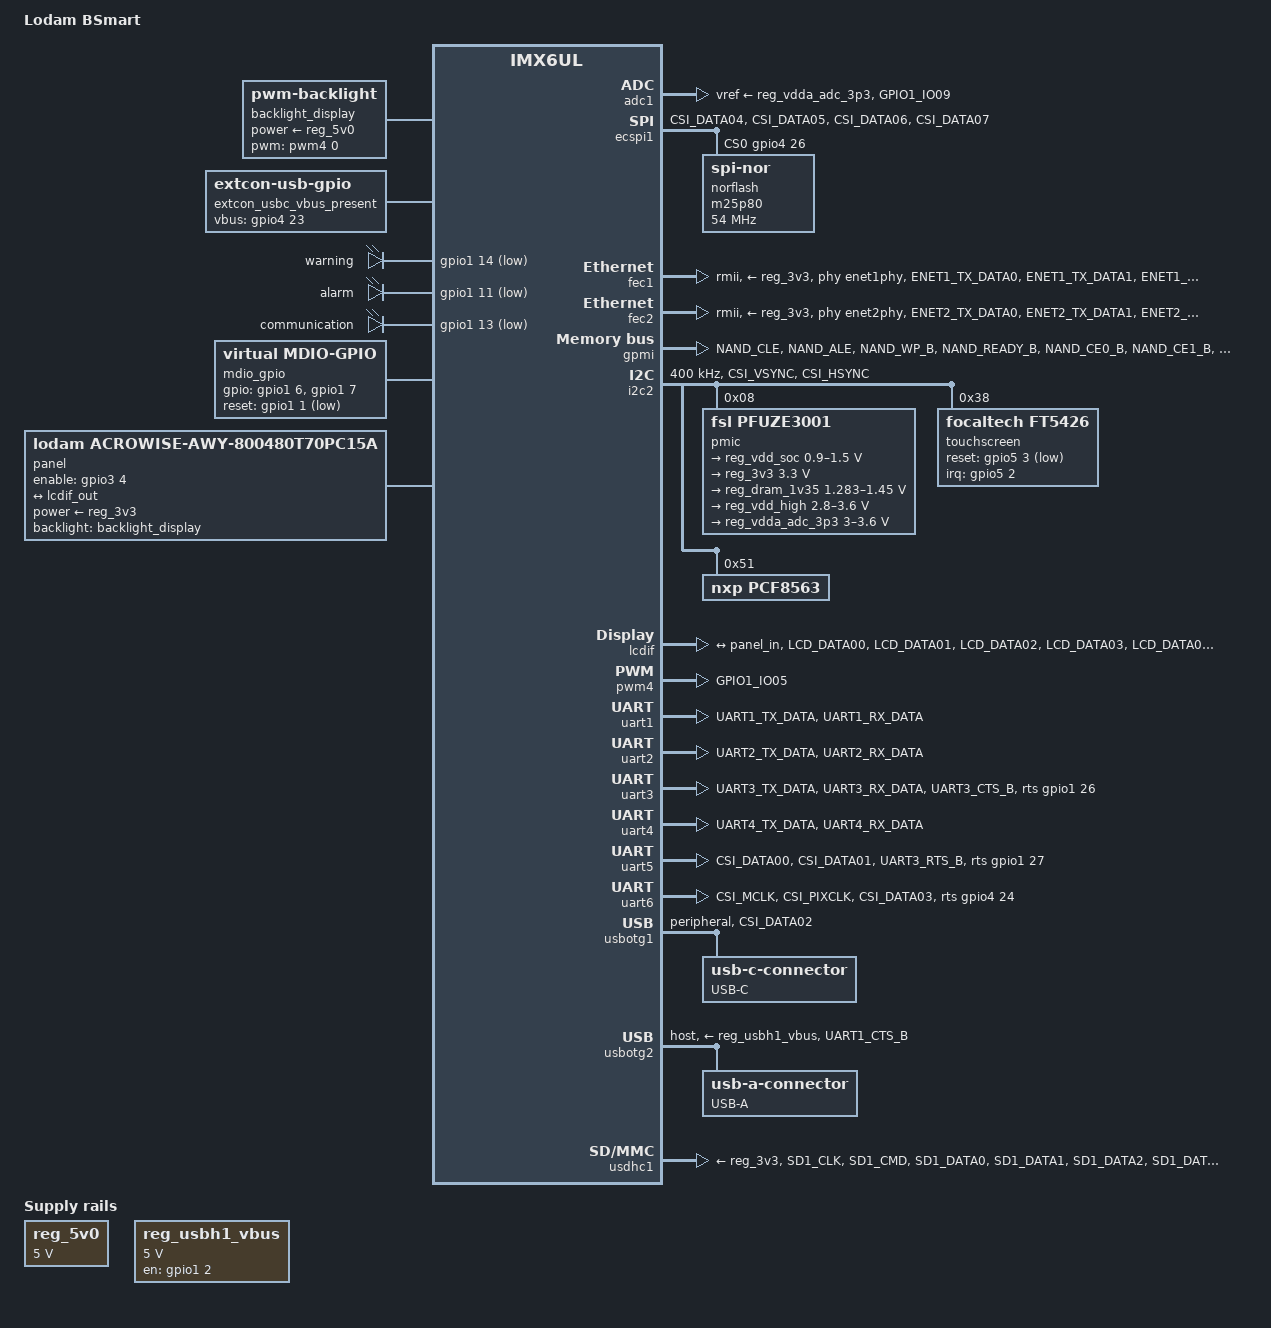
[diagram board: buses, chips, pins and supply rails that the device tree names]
/*
 * The code contained herein is licensed under the GNU General Public
 * License. You may obtain a copy of the GNU General Public License
 * Version 2 or later at the following locations:
 *
 * http://www.opensource.org/licenses/gpl-license.html
 * http://www.gnu.org/copyleft/gpl.html
 */

/dts-v1/;

#include "imx6ul.dtsi"

/ {
	model = "Lodam BSmart";
	compatible = "lodam,imx6ul-bsmart", "fsl,imx6ul";

	aliases {
		mdio-gpio0 = &mdio_gpio;
		rtc0 = &pcf8563;
		rtc1 = &snvs_rtc;
	};

	backlight_display: backlight-display {
		compatible = "pwm-backlight";
		pwms = <&pwm4 0 10000000>;
		brightness-levels = <0 16 32 48 64 80 96 112 128 144 160 176 192 208 224 240 255>;
		default-brightness-level = <16>;
		power-supply = <&reg_5v0>;
		status = "okay";
	};

	chosen {
		stdout-path = &uart1;
	};

	extcon_usbc_vbus_present: extcon_usbc {
		compatible = "linux,extcon-usb-gpio";
		vbus-gpio = <&gpio4 23 GPIO_ACTIVE_HIGH>;
	};

	leds: leds {
		compatible = "gpio-leds";
		pinctrl-names = "default";
		pinctrl-0 = <&pinctrl_leds>;

		led1: led1 {
			label = "warning";
			gpios = <&gpio1 14 GPIO_ACTIVE_LOW>;
			default-state = "on";
		};

		led2: led2 {
			label = "alarm";
			gpios = <&gpio1 11 GPIO_ACTIVE_LOW>;
			default-state = "on";
		};

		led3: led3 {
			label = "communication";
			gpios = <&gpio1 13 GPIO_ACTIVE_LOW>;
			default-state = "on";
		};
	};

	mdio_gpio: mdio-gpio { /* because MDC/MDIO lines are swapped */
		compatible = "virtual,mdio-gpio";
		pinctrl-names = "default";
		pinctrl-0 = <&pinctrl_mdio_gpio>;
		#address-cells = <1>;
		#size-cells = <0>;
		gpios = <&gpio1 6 GPIO_ACTIVE_HIGH   /* MDC */
			 &gpio1 7 GPIO_ACTIVE_HIGH>; /* MDIO */

		reset-gpios = <&gpio1 1 GPIO_ACTIVE_LOW>;
		reset-delay-us = <100000>;

		enet2phy: ksz8081rnb@1 {
			pinctrl-names = "default";
			pinctrl-0 = <&pinctrl_enet2phy>;
			interrupt-parent = <&gpio5>;
			interrupts = <6 IRQ_TYPE_LEVEL_LOW>;
			clocks = <&clks IMX6UL_CLK_ENET_REF>;
			clock-names = "rmii-ref";
			micrel,led-mode = <1>;
			reg = <1>;
		};

		enet1phy: ksz8081rnb@2 {
			pinctrl-names = "default";
			pinctrl-0 = <&pinctrl_enet1phy>;
			interrupt-parent = <&gpio5>;
			interrupts = <5 IRQ_TYPE_LEVEL_LOW>;
			clocks = <&clks IMX6UL_CLK_ENET_REF>;
			clock-names = "rmii-ref";
			micrel,led-mode = <1>;
			reg = <2>;
		};
	};

	panel {
		compatible = "lodam,acrowise-awy-800480t70pc15a", "simple-panel";
		backlight = <&backlight_display>;
		power-supply = <&reg_3v3>;
		enable-gpios = <&gpio3 4 GPIO_ACTIVE_HIGH>;

		port {
			panel_in: endpoint {
				remote-endpoint = <&lcdif_out>;
			};
		};
	};

	reg_5v0: 5v0 {
		compatible = "regulator-fixed";
		regulator-name = "5v0";
		regulator-min-microvolt = <5000000>;
		regulator-max-microvolt = <5000000>;
		regulator-always-on;
	};

	reg_usbh1_vbus: usb-h1-vbus {
		compatible = "regulator-fixed";
		regulator-name = "usb_h1_vbus";
		pinctrl-names = "default";
		pinctrl-0 = <&pinctrl_usbotg2_reg>;
		gpio = <&gpio1 2 GPIO_ACTIVE_HIGH>;
		enable-active-high;
		in-supply = <&reg_5v0>;
		regulator-min-microvolt = <5000000>;
		regulator-max-microvolt = <5000000>;
	};
};

&adc1 {
	pinctrl-names = "default";
	pinctrl-0 = <&pinctrl_adc1>;
	vref-supply = <&reg_vdda_adc_3p3>;
	num-channels = <10>;
	status = "okay";
};

&cpu0 {
        /* There's no means to reset the PMIC if imx2-wdt is triggered,
	 * thus disable cpufreq scaling to avoid erratic behavior
	 */
	operating-points = <
		/* kHz	uV */
		528000	1175000
	>;
	fsl,soc-operating-points = <
		/* KHz	uV */
		528000	1175000
	>;
};

&ecspi1 {
	fsl,spi-num-chipselects = <1>;
	cs-gpios = <&gpio4 26 0>;
	pinctrl-names = "default";
	pinctrl-0 = <&pinctrl_ecspi1>;
	status = "okay";

	norflash: m25p80@0 {
		#address-cells = <1>;
		#size-cells = <1>;
		compatible = "jedec,spi-nor";
		spi-max-frequency = <54000000>;
		reg = <0>;
	};
};

&fec1 {
	pinctrl-names = "default";
	pinctrl-0 = <&pinctrl_enet1>;
	phy-mode = "rmii";
	phy-handle = <&enet1phy>;
	phy-supply = <&reg_3v3>;
	status = "okay";
};

&fec2 {
	pinctrl-names = "default";
	pinctrl-0 = <&pinctrl_enet2>;
	phy-mode = "rmii";
	phy-handle = <&enet2phy>;
	phy-supply = <&reg_3v3>;
	status = "okay";
};

&gpio1 {
	gpio-line-names = "/Bluetooth_Reset", "", "", "", "", "", "", "",
			  "", "", "", "", "", "", "", "",
			  "", "", "/USB_HUB_RESET", "", "", "", "USB_MODEM_PWREN", "GNSS_ENABLE",
			  "", "", "", "", "", "", "/ONOFF_DETECT", "/MODEM_RESET";
};

&gpio5 {
	gpio-line-names = "PMIC_INT_B", "", "", "", "", "", "", "",
			  "", "", "", "", "", "", "", "",
			  "", "", "", "", "", "", "", "",
			  "", "", "", "", "", "", "", "";
};

&gpmi {
	#address-cells = <1>;
	#size-cells = <1>;
	pinctrl-names = "default";
	pinctrl-0 = <&pinctrl_gpmi_nand>;
	nand-on-flash-bbt;
	status = "okay";
};

&i2c2 {
	clock-frequency = <400000>;
	pinctrl-names = "default";
	pinctrl-0 = <&pinctrl_i2c2>;
	status = "okay";

	pmic@8 {
		compatible = "fsl,pfuze3001";
		reg = <0x08>;

		regulators {
			reg_vdd_soc: sw1 {
				regulator-min-microvolt = <900000>;
				regulator-max-microvolt = <1500000>;
				regulator-boot-on;

				regulator-state-mem {
					regulator-on-in-suspend;
				};
			};

			reg_3v3: sw2 {
				regulator-min-microvolt = <3300000>;
				regulator-max-microvolt = <3300000>;

				regulator-state-mem {
					regulator-off-in-suspend;
				};
			};

			reg_dram_1v35: sw3 {
				regulator-min-microvolt = <1283000>;
				regulator-max-microvolt = <1450000>;
				regulator-boot-on;
				regulator-always-on;

				regulator-state-mem {
					regulator-on-in-suspend;
				};
			};

			reg_vdd_high: v33 {
				regulator-min-microvolt = <2800000>;
				regulator-max-microvolt = <3600000>;
				regulator-boot-on;
				regulator-always-on;
			};

			reg_vdda_adc_3p3: vldo1 {
				regulator-min-microvolt = <3000000>;
				regulator-max-microvolt = <3600000>;
				regulator-boot-on;

				regulator-state-mem {
					regulator-off-in-suspend;
				};
			};
		};
	};

	usb-hub@2c {
		compatible = "microchip,usb2512bi";
		reg = <0x2c>;
		reset-gpios = <&gpio1 18 GPIO_ACTIVE_LOW>;
		vdd33-supply = <&reg_3v3>;
		status = "disabled"; /* solder R114, R115 to enable */
	};

	touchscreen@38 {
		compatible = "focaltech,ft5426", "edt,edt-ft5406";
		reg = <0x38>;
		pinctrl-names = "default";
		pinctrl-0 = <&pinctrl_lcd_ctp_ctrl>;
		reset-gpios = <&gpio5 3 GPIO_ACTIVE_LOW>;
		interrupt-parent = <&gpio5>;
		interrupts = <2 IRQ_TYPE_EDGE_FALLING>;
		touchscreen-size-x = <800>;
		touchscreen-size-y = <480>;
	};

	pcf8563: rtc@51 {
		compatible = "nxp,pcf8563";
		reg = <0x51>;
	};
};

&iomuxc {
	pinctrl-names = "default";
	pinctrl-0 = <&pinctrl_hog &pinctrl_bluetooth &pinctrl_modem>;

	pinctrl_hog: hoggrp {
		/* adjust settings of some pads to save battery power */
		fsl,pins = <
			/* Input signal is always defined externally => no PU/PD */
			MX6UL_PAD_BOOT_MODE0__GPIO5_IO10	0x0
			MX6UL_PAD_BOOT_MODE1__GPIO5_IO11	0x0

			MX6UL_PAD_SNVS_TAMPER1__GPIO5_IO01	0x110a0
			MX6UL_PAD_SNVS_TAMPER4__GPIO5_IO04	0x110a0
			MX6UL_PAD_SNVS_TAMPER7__GPIO5_IO07	0x110a0
			MX6UL_PAD_SNVS_TAMPER8__GPIO5_IO08	0x110a0
			MX6UL_PAD_SNVS_TAMPER9__GPIO5_IO09	0x110a0
			MX6UL_PAD_UART5_TX_DATA__GPIO1_IO30	0x1b0b0 /* !ONOFF_Detect */
			MX6UL_PAD_JTAG_MOD__SJC_MOD		0xb0a0
			MX6UL_PAD_JTAG_TRST_B__SJC_TRSTB	0x70a0
			MX6UL_PAD_JTAG_TDO__SJC_TDO		0xb0b1
			MX6UL_PAD_SNVS_TAMPER0__GPIO5_IO00	0x100a0	/* PMIC_INT_B */
		>;
	};

	pinctrl_adc1: adc1grp {
		fsl,pins = <
			MX6UL_PAD_GPIO1_IO09__GPIO1_IO09	0x30	/* VIN_MEAS */
		>;
	};

	pinctrl_bluetooth: bluetoothgrp {
		fsl,pins = <
			MX6UL_PAD_GPIO1_IO00__GPIO1_IO00	0xb0	/* !Bluetooth_Reset, has 19k PU */
		>;
	};

	pinctrl_ecspi1: ecspi1grp {
		fsl,pins = <
			MX6UL_PAD_CSI_DATA04__ECSPI1_SCLK	0xb0	/* eCSPI1.SCLK */
			MX6UL_PAD_CSI_DATA05__GPIO4_IO26	0xb1	/* eCSPI1.SS0 */
			MX6UL_PAD_CSI_DATA06__ECSPI1_MOSI	0xb0	/* eCSPI1.MOSI */
			MX6UL_PAD_CSI_DATA07__ECSPI1_MISO	0xb0	/* eCSPI1.MISO */
		>;
	};

	pinctrl_enet1: enet1grp {
		fsl,pins = <
			MX6UL_PAD_ENET1_TX_DATA0__ENET1_TDATA00	0x1b0b0
			MX6UL_PAD_ENET1_TX_DATA1__ENET1_TDATA01	0x1b0b0
			MX6UL_PAD_ENET1_TX_EN__ENET1_TX_EN	0x1b0b0
			MX6UL_PAD_ENET1_TX_CLK__ENET1_REF_CLK1  0x4001b031
			MX6UL_PAD_ENET1_RX_DATA0__ENET1_RDATA00	0x1b0b0
			MX6UL_PAD_ENET1_RX_DATA1__ENET1_RDATA01	0x1b0b0
			MX6UL_PAD_ENET1_RX_ER__ENET1_RX_ER	0x1b0b0
			MX6UL_PAD_ENET1_RX_EN__ENET1_RX_EN	0x1b0b0
		>;
	};

	pinctrl_enet1phy: enet1phygrp {
		fsl,pins = <
			MX6UL_PAD_SNVS_TAMPER5__GPIO5_IO05	0x1b0a0 /* !ENET1_INT */
		>;
	};

	pinctrl_enet2: enet2grp {
		fsl,pins = <
			MX6UL_PAD_ENET2_TX_DATA0__ENET2_TDATA00	0x1b0b0
			MX6UL_PAD_ENET2_TX_DATA1__ENET2_TDATA01	0x1b0b0
			MX6UL_PAD_ENET2_TX_EN__ENET2_TX_EN	0x1b0b0
			MX6UL_PAD_ENET2_TX_CLK__ENET2_REF_CLK2	0x4001b031
			MX6UL_PAD_ENET2_RX_DATA0__ENET2_RDATA00	0x1b0b0
			MX6UL_PAD_ENET2_RX_DATA1__ENET2_RDATA01	0x1b0b0
			MX6UL_PAD_ENET2_RX_ER__ENET2_RX_ER	0x1b0b0
			MX6UL_PAD_ENET2_RX_EN__ENET2_RX_EN	0x1b0b0
		>;
	};

	pinctrl_enet2phy: enet2phygrp {
		fsl,pins = <
			MX6UL_PAD_SNVS_TAMPER6__GPIO5_IO06	0x800 /* !ENET2_INT */
		>;
	};

	pinctrl_gpmi_nand: gpmi-nand {
		fsl,pins = <
			MX6UL_PAD_NAND_CLE__RAWNAND_CLE         0x10b0	/* NAND_CLE */
			MX6UL_PAD_NAND_ALE__RAWNAND_ALE         0x10b0	/* NAND_ALE */
			MX6UL_PAD_NAND_WP_B__RAWNAND_WP_B       0x10b0	/* NAND_nWP */
			MX6UL_PAD_NAND_READY_B__RAWNAND_READY_B 0x10b0	/* NAND_nREADY */
			MX6UL_PAD_NAND_CE0_B__RAWNAND_CE0_B     0x10b0	/* NAND_nCE0 */
			MX6UL_PAD_NAND_CE1_B__RAWNAND_CE1_B     0x10b0	/* NAND_nCE1, has external 10k PD */
			MX6UL_PAD_NAND_DQS__RAWNAND_DQS		0x10b0	/* NAND_DQS, has external 10k PD */
			MX6UL_PAD_NAND_RE_B__RAWNAND_RE_B       0x10b0	/* NAND_nRE */
			MX6UL_PAD_NAND_WE_B__RAWNAND_WE_B       0x10b0	/* NAND_nWE */
			MX6UL_PAD_NAND_DATA00__RAWNAND_DATA00   0x10b0	/* NAND_DATA0 */
			MX6UL_PAD_NAND_DATA01__RAWNAND_DATA01   0x10b0	/* NAND_DATA1 */
			MX6UL_PAD_NAND_DATA02__RAWNAND_DATA02   0x10b0	/* NAND_DATA2 */
			MX6UL_PAD_NAND_DATA03__RAWNAND_DATA03   0x10b0	/* NAND_DATA3 */
			MX6UL_PAD_NAND_DATA04__RAWNAND_DATA04   0x10b0	/* NAND_DATA4 */
			MX6UL_PAD_NAND_DATA05__RAWNAND_DATA05   0x10b0	/* NAND_DATA5 */
			MX6UL_PAD_NAND_DATA06__RAWNAND_DATA06   0x10b0	/* NAND_DATA6 */
			MX6UL_PAD_NAND_DATA07__RAWNAND_DATA07   0x10b0	/* NAND_DATA7 */
		>;
	};

	pinctrl_i2c2: i2c2grp {
		fsl,pins = <
			MX6UL_PAD_CSI_VSYNC__I2C2_SDA		0x400008b0	/* I2C_SDA */
			MX6UL_PAD_CSI_HSYNC__I2C2_SCL		0x400008b0	/* I2C_SCL */
		>;
	};

	pinctrl_lcd_ctp_ctrl: lcdctpctrlgrp {
		fsl,pins = <
			MX6UL_PAD_SNVS_TAMPER2__GPIO5_IO02	0x1b0a0	/* !TOUCH_INT */
			MX6UL_PAD_SNVS_TAMPER3__GPIO5_IO03	0x100a0	/* !TOUCH_RESET */
		>;
	};

	pinctrl_lcdif_ctrl: lcdifctrlgrp {
		fsl,pins = <
			MX6UL_PAD_LCD_CLK__LCDIF_CLK		0x10b0
			MX6UL_PAD_LCD_ENABLE__LCDIF_ENABLE	0x10b0
			MX6UL_PAD_LCD_HSYNC__LCDIF_HSYNC	0x10b0
			MX6UL_PAD_LCD_VSYNC__LCDIF_VSYNC	0x10b0
			MX6UL_PAD_LCD_RESET__GPIO3_IO04		0x10b0
		>;
	};

	pinctrl_lcdif_dat: lcdifdatgrp {
		fsl,pins = <
			MX6UL_PAD_LCD_DATA00__LCDIF_DATA00	0x10b0
			MX6UL_PAD_LCD_DATA01__LCDIF_DATA01	0x10b0
			MX6UL_PAD_LCD_DATA02__LCDIF_DATA02	0x10b0
			MX6UL_PAD_LCD_DATA03__LCDIF_DATA03	0x10b0
			MX6UL_PAD_LCD_DATA04__LCDIF_DATA04	0x10b0
			MX6UL_PAD_LCD_DATA05__LCDIF_DATA05	0x10b0
			MX6UL_PAD_LCD_DATA06__LCDIF_DATA06	0x10b0
			MX6UL_PAD_LCD_DATA07__LCDIF_DATA07	0x10b0
			MX6UL_PAD_LCD_DATA08__LCDIF_DATA08	0x10b0
			MX6UL_PAD_LCD_DATA09__LCDIF_DATA09	0x10b0
			MX6UL_PAD_LCD_DATA10__LCDIF_DATA10	0x10b0
			MX6UL_PAD_LCD_DATA11__LCDIF_DATA11	0x10b0
			MX6UL_PAD_LCD_DATA12__LCDIF_DATA12	0x10b0
			MX6UL_PAD_LCD_DATA13__LCDIF_DATA13	0x10b0
			MX6UL_PAD_LCD_DATA14__LCDIF_DATA14	0x10b0
			MX6UL_PAD_LCD_DATA15__LCDIF_DATA15	0x10b0
			MX6UL_PAD_LCD_DATA16__LCDIF_DATA16	0x10b0
			MX6UL_PAD_LCD_DATA17__LCDIF_DATA17	0x10b0
			MX6UL_PAD_LCD_DATA18__LCDIF_DATA18	0x10b0
			MX6UL_PAD_LCD_DATA19__LCDIF_DATA19	0x10b0
			MX6UL_PAD_LCD_DATA20__LCDIF_DATA20	0x10b0
			MX6UL_PAD_LCD_DATA21__LCDIF_DATA21	0x10b0
			MX6UL_PAD_LCD_DATA22__LCDIF_DATA22	0x10b0
			MX6UL_PAD_LCD_DATA23__LCDIF_DATA23	0x10b0
		>;
	};

	pinctrl_leds: ledsgrp {
		fsl,pins = <
			/* Output with low speed & no DSE */
			MX6UL_PAD_JTAG_TCK__GPIO1_IO14		0x60a0	/* !LED1 */
			MX6UL_PAD_JTAG_TMS__GPIO1_IO11		0x60a0	/* !LED2 */
			MX6UL_PAD_JTAG_TDI__GPIO1_IO13		0x60a0	/* !LED3 */
		>;
	};

	pinctrl_mdio_gpio: mdiogpiogrp {
		fsl,pins = <
			MX6UL_PAD_GPIO1_IO06__GPIO1_IO06       0x4001b031 /* ENET_MDC */
			MX6UL_PAD_GPIO1_IO07__GPIO1_IO07       0x40018830 /* ENET_MDIO */
		>;
	};

	pinctrl_modem: modemgrp {
		fsl,pins = <
			MX6UL_PAD_UART2_CTS_B__GPIO1_IO22	0xb0	/* USB_MODEM_PWREN, has 20k pd */
			MX6UL_PAD_UART2_RTS_B__GPIO1_IO23	0xb0	/* MODEM_GNSS_ENABLE, has 100k pd */
			MX6UL_PAD_UART5_RX_DATA__GPIO1_IO31	0xb0	/* !MODEM_RESET, has 100k pd */
		>;
	};

	pinctrl_phy_reset: phyresetgrp {
		fsl,pins = <
			MX6UL_PAD_GPIO1_IO01__GPIO1_IO01	0xb0	/* !ENET_RST */
		>;
	};

	pinctrl_pwm4: pwm4grp {
		fsl,pins = <
			MX6UL_PAD_GPIO1_IO05__PWM4_OUT		0xb0	/* PWM Backlight */
		>;
	};

	pinctrl_uart1: uart1grp {
		fsl,pins = <
			MX6UL_PAD_UART1_TX_DATA__UART1_DCE_TX	0x10b0	/* Debug_TXD */
			MX6UL_PAD_UART1_RX_DATA__UART1_DCE_RX	0xb0b0	/* Debug_RXD */

		>;
	};

	pinctrl_uart2: uart2grp {
		fsl,pins = <
			MX6UL_PAD_UART2_TX_DATA__UART2_DCE_TX	0x10b0	/* Bluetooth_TXD */
			MX6UL_PAD_UART2_RX_DATA__UART2_DCE_RX	0x10b0	/* Bluetooth_RXD */
		>;
	};

	pinctrl_uart3: uart3grp {
		fsl,pins = <
			MX6UL_PAD_UART3_TX_DATA__UART3_DCE_TX	0x10b0	/* COM2_ISO_TXD */
			MX6UL_PAD_UART3_RX_DATA__UART3_DCE_RX	0xb0b0	/* COM2_ISO_RXD */
			MX6UL_PAD_UART3_CTS_B__GPIO1_IO26	0xb0	/* COM2_ISO_TXEN */
		>;
	};

	pinctrl_uart4: uart4grp {
		fsl,pins = <
			MX6UL_PAD_UART4_TX_DATA__UART4_DCE_TX	0x10b0	/* GNSS_TXD */
			MX6UL_PAD_UART4_RX_DATA__UART4_DCE_RX	0x10b0	/* GNSS_RXD */
		>;
	};

	pinctrl_uart5: uart5grp {
		fsl,pins = <
			MX6UL_PAD_CSI_DATA00__UART5_DCE_TX	0x10b0	/* COM3_TXD */
			MX6UL_PAD_CSI_DATA01__UART5_DCE_RX	0xb0b0	/* COM3_RXD */
			MX6UL_PAD_UART3_RTS_B__GPIO1_IO27	0xb0	/* COM3_TXEN */
		>;
	};

	pinctrl_uart6: uart6grp {
		fsl,pins = <
			MX6UL_PAD_CSI_MCLK__UART6_DCE_TX	0x10b0	/* COM1_ISO_TXD */
			MX6UL_PAD_CSI_PIXCLK__UART6_DCE_RX	0xb0b0	/* COM1_ISO_RXD */
			MX6UL_PAD_CSI_DATA03__GPIO4_IO24	0xb0	/* COM1_ISO_TXEN */
		>;
	};

	pinctrl_usbhub: usbhubgrp {
		fsl,pins = <
			MX6UL_PAD_UART1_CTS_B__GPIO1_IO18	0xb0 /* !USB_HUB_RESET */
		>;
	};

	pinctrl_usbotg1: usbotg1grp {
		fsl,pins = <
			MX6UL_PAD_CSI_DATA02__GPIO4_IO23	0x100b0	/* USB_5V_present */
		>;
	};

	pinctrl_usbotg2_reg: usbotg2reggrp {
		fsl,pins = <
			MX6UL_PAD_GPIO1_IO03__USB_OTG2_OC	0xb0	/* !USB_HOST_OC, has external 10k PU */
			MX6UL_PAD_GPIO1_IO02__GPIO1_IO02	0xb0 /* USB_HOST_PWREN, has 100k PD */
		>;
	};

	pinctrl_usdhc1: usdhc1grp {
		fsl,pins = <
			MX6UL_PAD_SD1_CLK__USDHC1_CLK		0x10b0
			MX6UL_PAD_SD1_CMD__USDHC1_CMD		0x10b0
			MX6UL_PAD_SD1_DATA0__USDHC1_DATA0	0x10b0
			MX6UL_PAD_SD1_DATA1__USDHC1_DATA1	0x10b0
			MX6UL_PAD_SD1_DATA2__USDHC1_DATA2	0x10b0
			MX6UL_PAD_SD1_DATA3__USDHC1_DATA3	0x10b0

			MX6UL_PAD_UART1_RTS_B__GPIO1_IO19 0x17059 /* !SD1_CD */
		>;
	};
};

&lcdif {
	assigned-clocks = <&clks IMX6UL_CLK_LCDIF_PRE_SEL>;
	assigned-clock-parents = <&clks IMX6UL_CLK_PLL5_VIDEO_DIV>;
	pinctrl-names = "default";
	pinctrl-0 = <&pinctrl_lcdif_dat
		     &pinctrl_lcdif_ctrl>;
	status = "okay";

	port {
		lcdif_out: endpoint {
			remote-endpoint = <&panel_in>;
		};
	};
};

&pwm4 {
	pinctrl-names = "default";
	pinctrl-0 = <&pinctrl_pwm4>;
	status = "okay";
};

&reg_arm {
	vin-supply = <&reg_vdd_soc>;
};

&reg_soc {
	vin-supply = <&reg_vdd_soc>;
};

&snvs_poweroff {
	status = "okay";
};

&uart1 { /* debug uart */
	pinctrl-names = "default";
	pinctrl-0 = <&pinctrl_uart1>;
	status = "okay";
};

&uart2 { /* bluetooth */
	pinctrl-names = "default";
	pinctrl-0 = <&pinctrl_uart2>;
	status = "okay";
};

&uart3 { /* RS-485 (ADM2487E) COM2 Isolated */
	pinctrl-names = "default";
	pinctrl-0 = <&pinctrl_uart3>;
	linux,rs485-enabled-at-boot-time;
	rts-gpios = <&gpio1 26 GPIO_ACTIVE_HIGH>;
	rs485-rts-delay-us = <3 1>;
	status = "okay";
};

&uart4 { /* GNSS */
	pinctrl-names = "default";
	pinctrl-0 = <&pinctrl_uart4>;
	status = "okay";
};

&uart5 { /* RS-485 (ADM2487E) COM3 Non-Isolated */
	pinctrl-names = "default";
	pinctrl-0 = <&pinctrl_uart5>;
	linux,rs485-enabled-at-boot-time;
	rts-gpios = <&gpio1 27 GPIO_ACTIVE_HIGH>;
	rs485-rts-delay-us = <3 1>;
	status = "okay";
};

&uart6 { /* RS-485 (ADM2487E ) COM1 Isolated */
	pinctrl-names = "default";
	pinctrl-0 = <&pinctrl_uart6>;
	linux,rs485-enabled-at-boot-time;
	rts-gpios = <&gpio4 24 GPIO_ACTIVE_HIGH>;
	rs485-rts-delay-us = <3 1>;
	status = "okay";
};

&usbotg1 {
	pinctrl-names = "default";
	pinctrl-0 = <&pinctrl_usbotg1>;
	extcon = <&extcon_usbc_vbus_present>;
	dr_mode = "peripheral";
	status = "okay";

	usb_c: connector {
		compatible = "usb-c-connector";
		label = "USB-C";
	};
};

&usbotg2 {
	pinctrl-names = "default";
	pinctrl-0 = <&pinctrl_usbhub>;
	vbus-supply =<&reg_usbh1_vbus>;
	dr_mode = "host";
	status = "okay";

	usb_a: connector {
		compatible = "usb-a-connector";
		label = "USB-A";
	};
};

&usdhc1 {
	pinctrl-names = "default";
	pinctrl-0 = <&pinctrl_usdhc1>;
	cd-gpios = <&gpio1 19 GPIO_ACTIVE_LOW>;
	vmmc-supply = <&reg_3v3>;
	disable-wp;
	no-1-8-v;
	status = "okay";
};
